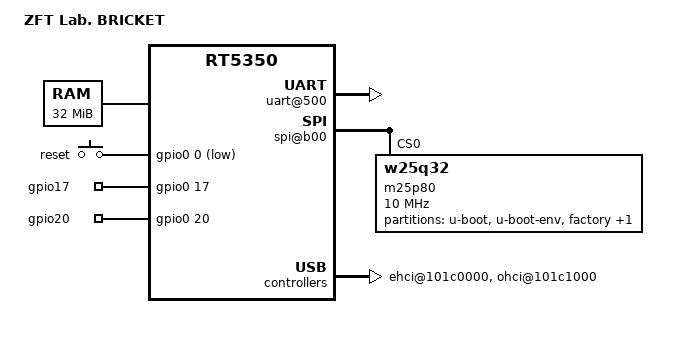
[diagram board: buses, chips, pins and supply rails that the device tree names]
/dts-v1/;

/include/ "rt5350.dtsi"

/ {
	compatible = "BRICKET", "ralink,rt5350-soc";
	model = "ZFT Lab. BRICKET";

	memory@0 {
		device_type = "memory";
		reg = <0x0 0x2000000>;
	};

	chosen {
		bootargs = "console=ttyS1,57600";
	};

	palmbus@10000000 {
		uart@500 {
			status = "okay";
		};
		spi@b00 {
			status = "okay";
			m25p80@0 {
				#address-cells = <1>;
				#size-cells = <1>;
				compatible = "w25q32";
				reg = <0 0>;
				linux,modalias = "m25p80", "s25fl064k";
				spi-max-frequency = <10000000>;

				partition@0 {
					label = "u-boot";
					reg = <0x0 0x30000>;
					read-only;
				};

				partition@30000 {
					label = "u-boot-env";
					reg = <0x30000 0x10000>;
					read-only;
				};

				factory: partition@40000 {
					label = "factory";
					reg = <0x40000 0x10000>;
					read-only;
				};

				partition@50000 {
					label = "firmware";
					reg = <0x50000 0x3b0000>;
				};
			};
		};
	};

	pinctrl {
		state_default: pinctrl0 {
			gpio {
				ralink,group = "jtag";
				ralink,function = "gpio";
			};
		};
	};

	ethernet@10100000 {
		mtd-mac-address = <&factory 0x4>;
	};

	wmac@10180000 {
		ralink,mtd-eeprom = <&factory 0>;
	};

	ehci@101c0000 {
		status = "okay";
	};

	ohci@101c1000 {
		status = "okay";
	};

	gpio-keys-polled {
		compatible = "gpio-keys-polled";
		#address-cells = <1>;
		#size-cells = <0>;
		poll-interval = <100>;
		reset {
			label = "reset";
			gpios = <&gpio0 0 1>;
			linux,code = <0x198>;
		};
	};

	gpio-export {
		compatible = "gpio-export";
		#size-cells = <0>;
		gpio17 {
			gpio-export,name = "gpio17";
			#gpio-export,direction_may_change = <1>;
			gpio-export,output = <0>;                 /* Значение по-умолчанию при старте: 0 - горит светодиод, питание на USB через ключ НЕ подаётся */
			gpios = <&gpio0 17 0>;                    /* Адрес контроллера, номер GPIO, 0 или 1 будет использоваться в качестве ON/OFF (привязываемся к подаче питания) */
		};
		gpio20 {
			gpio-export,name = "gpio20";
			#gpio-export,direction_may_change = <1>;
			gpio-export,output = <0>;                 /* Значение по-умолчанию при старте: 0 - горит светодиод, питание на USB через ключ НЕ подаётся */
			gpios = <&gpio0 20 0>;                    /* Адрес контроллера, номер GPIO, 0 или 1 будет использоваться в качестве ON/OFF (привязываемся к подаче питания) */
		};
	};

};
